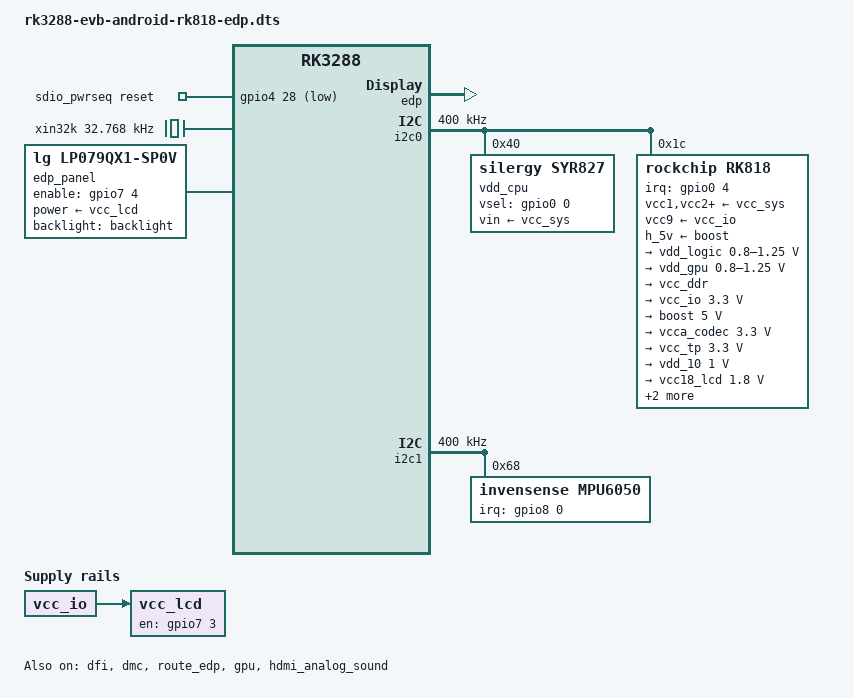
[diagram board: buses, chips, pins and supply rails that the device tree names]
/*
 * Copyright (c) 2017 Fuzhou Rockchip Electronics Co., Ltd
 *
 * This file is dual-licensed: you can use it either under the terms
 * of the GPL or the X11 license, at your option. Note that this dual
 * licensing only applies to this file, and not this project as a
 * whole.
 *
 *  a) This file is free software; you can redistribute it and/or
 *     modify it under the terms of the GNU General Public License as
 *     published by the Free Software Foundation; either version 2 of the
 *     License, or (at your option) any later version.
 *
 *     This file is distributed in the hope that it will be useful,
 *     but WITHOUT ANY WARRANTY; without even the implied warranty of
 *     MERCHANTABILITY or FITNESS FOR A PARTICULAR PURPOSE.  See the
 *     GNU General Public License for more details.
 *
 * Or, alternatively,
 *
 *  b) Permission is hereby granted, free of charge, to any person
 *     obtaining a copy of this software and associated documentation
 *     files (the "Software"), to deal in the Software without
 *     restriction, including without limitation the rights to use,
 *     copy, modify, merge, publish, distribute, sublicense, and/or
 *     sell copies of the Software, and to permit persons to whom the
 *     Software is furnished to do so, subject to the following
 *     conditions:
 *
 *     The above copyright notice and this permission notice shall be
 *     included in all copies or substantial portions of the Software.
 *
 *     THE SOFTWARE IS PROVIDED "AS IS", WITHOUT WARRANTY OF ANY KIND,
 *     EXPRESS OR IMPLIED, INCLUDING BUT NOT LIMITED TO THE WARRANTIES
 *     OF MERCHANTABILITY, FITNESS FOR A PARTICULAR PURPOSE AND
 *     NONINFRINGEMENT. IN NO EVENT SHALL THE AUTHORS OR COPYRIGHT
 *     HOLDERS BE LIABLE FOR ANY CLAIM, DAMAGES OR OTHER LIABILITY,
 *     WHETHER IN AN ACTION OF CONTRACT, TORT OR OTHERWISE, ARISING
 *     FROM, OUT OF OR IN CONNECTION WITH THE SOFTWARE OR THE USE OR
 *     OTHER DEALINGS IN THE SOFTWARE.
 */

/dts-v1/;
#include "rk3288-evb.dtsi"
#include "rk3288-android.dtsi"

/ {
	compatible = "rockchip,rk3288-evb-android-rk818", "rockchip,rk3288";

	sdio_pwrseq: sdio-pwrseq {
		compatible = "mmc-pwrseq-simple";
		clocks = <&rk818 1>;
		clock-names = "ext_clock";

		/*
		 * On the module itself this is one of these (depending
		 * on the actual card populated):
		 * - SDIO_RESET_L_WL_REG_ON
		 * - PDN (power down when low)
		 */
		reset-gpios = <&gpio4 28 GPIO_ACTIVE_LOW>;
	};

	wireless-bluetooth {
		clocks = <&rk818 1>;
		clock-names = "ext_clock";
	};

	/delete-node/ sdmmc-regulator;

	vcc_lcd: vcc-lcd {
		compatible = "regulator-fixed";
		regulator-boot-on;
		enable-active-high;
		gpio = <&gpio7 3 GPIO_ACTIVE_HIGH>;
		pinctrl-names = "default";
		pinctrl-0 = <&lcd_en>;
		regulator-name = "vcc_lcd";
		vin-supply = <&vcc_io>;
	};

	xin32k: xin32k {
		compatible = "fixed-clock";
		clock-frequency = <32768>;
		clock-output-names = "xin32k";
		#clock-cells = <0>;
	};
};

&cpu0 {
	cpu-supply = <&vdd_cpu>;
};

&dfi {
	status = "okay";
};

&dmc {
	center-supply = <&vdd_logic>;
	status = "okay";
};

&edp {
	status = "okay";
};

&edp_panel {
	compatible ="lg,lp079qx1-sp0v", "simple-panel";
	backlight = <&backlight>;
	enable-gpios = <&gpio7 4 GPIO_ACTIVE_HIGH>;
	enable-delay-ms = <120>;
	pinctrl-0 = <&lcd_cs>;
	power-supply = <&vcc_lcd>;
	status = "okay";

	disp_timings: display-timings {
		native-mode = <&timing0>;

		timing0: timing0 {
			clock-frequency = <200000000>;
			hactive = <1536>;
			vactive = <2048>;
			hfront-porch = <12>;
			hsync-len = <16>;
			hback-porch = <48>;
			vfront-porch = <8>;
			vsync-len = <4>;
			vback-porch = <8>;
			hsync-active = <0>;
			vsync-active = <0>;
			de-active = <0>;
			pixelclk-active = <0>;
		};
	};
};

&route_edp {
	status = "okay";
};

&gpu {
	status = "okay";
	mali-supply = <&vdd_gpu>;
};

&hdmi_analog_sound {
	status = "okay";
};

&i2c0 {
	clock-frequency = <400000>;

	vdd_cpu: syr827@40 {
		compatible = "silergy,syr827";
		reg = <0x40>;
		vin-supply = <&vcc_sys>;
		regulator-compatible = "fan53555-reg";
		pinctrl-0 = <&vsel1_gpio>;
		vsel-gpios = <&gpio0 0 GPIO_ACTIVE_HIGH>;
		regulator-name = "vdd_cpu";
		regulator-min-microvolt = <712500>;
		regulator-max-microvolt = <1500000>;
		regulator-ramp-delay = <1000>;
		fcs,suspend-voltage-selector = <1>;
		regulator-always-on;
		regulator-boot-on;
		regulator-initial-state = <3>;
		regulator-state-mem {
			regulator-off-in-suspend;
		};
	};

	rk818: pmic@1c {
		compatible = "rockchip,rk818";
		reg = <0x1c>;
		status = "okay";

		clock-output-names = "rk818-clkout1", "wifibt_32kin";
		interrupt-parent = <&gpio0>;
		interrupts = <4 IRQ_TYPE_LEVEL_LOW>;
		pinctrl-names = "default";
		pinctrl-0 = <&pmic_int>;
		rockchip,system-power-controller;
		wakeup-source;
		#clock-cells = <1>;

		vcc1-supply = <&vcc_sys>;
		vcc2-supply = <&vcc_sys>;
		vcc3-supply = <&vcc_sys>;
		vcc4-supply = <&vcc_sys>;
		vcc6-supply = <&vcc_sys>;
		vcc7-supply = <&vcc_sys>;
		vcc8-supply = <&vcc_sys>;
		vcc9-supply = <&vcc_io>;
		boost-supply = <&vcc_sys>;
		h_5v-supply = <&boost>;

		regulators {
			vdd_logic: DCDC_REG1 {
				regulator-name = "vdd_logic";
				regulator-always-on;
				regulator-boot-on;
				regulator-min-microvolt = <800000>;
				regulator-max-microvolt = <1250000>;
				regulator-ramp-delay = <6001>;
				regulator-state-mem {
					regulator-on-in-suspend;
					regulator-suspend-microvolt = <1000000>;
				};
			};

			vdd_gpu: DCDC_REG2 {
				regulator-name = "vdd_gpu";
				regulator-always-on;
				regulator-boot-on;
				regulator-min-microvolt = <800000>;
				regulator-max-microvolt = <1250000>;
				regulator-ramp-delay = <6001>;
				regulator-state-mem {
					regulator-on-in-suspend;
					regulator-suspend-microvolt = <1000000>;
				};
			};

			vcc_ddr: DCDC_REG3 {
				regulator-always-on;
				regulator-boot-on;
				regulator-name = "vcc_ddr";
				regulator-state-mem {
					regulator-on-in-suspend;
				};
			};

			vcc_io: DCDC_REG4 {
				regulator-always-on;
				regulator-boot-on;
				regulator-min-microvolt = <3300000>;
				regulator-max-microvolt = <3300000>;
				regulator-name = "vcc_io";
				regulator-state-mem {
					regulator-off-in-suspend;
				};
			};

			boost: DCDC_BOOST {
				regulator-always-on;
				regulator-boot-on;
				regulator-min-microvolt = <5000000>;
				regulator-max-microvolt = <5000000>;
				regulator-name = "boost";
				regulator-state-mem {
					regulator-on-in-suspend;
				};
			};

			vcca_codec: LDO_REG1 {
				regulator-always-on;
				regulator-boot-on;
				regulator-min-microvolt = <3300000>;
				regulator-max-microvolt = <3300000>;
				regulator-name = "vcca_codec";
				regulator-state-mem {
					regulator-off-in-suspend;
				};
			};

			vcc_tp: LDO_REG2 {
				regulator-always-on;
				regulator-boot-on;
				regulator-min-microvolt = <3300000>;
				regulator-max-microvolt = <3300000>;
				regulator-name = "vcc_tp";
				regulator-state-mem {
					regulator-off-in-suspend;
				};
			};

			vdd_10: LDO_REG3 {
				regulator-always-on;
				regulator-boot-on;
				regulator-min-microvolt = <1000000>;
				regulator-max-microvolt = <1000000>;
				regulator-name = "vdd_10";
				regulator-state-mem {
					regulator-on-in-suspend;
					regulator-suspend-microvolt = <1000000>;
				};
			};

			vcc18_lcd: LDO_REG4 {
				regulator-always-on;
				regulator-boot-on;
				regulator-min-microvolt = <1800000>;
				regulator-max-microvolt = <1800000>;
				regulator-name = "vcc18_lcd";
				regulator-state-mem {
					regulator-off-in-suspend;
				};
			};

			vccio_pmu: LDO_REG5 {
				regulator-always-on;
				regulator-boot-on;
				regulator-min-microvolt = <3300000>;
				regulator-max-microvolt = <3300000>;
				regulator-name = "vccio_pmu";
				regulator-state-mem {
					regulator-on-in-suspend;
					regulator-suspend-microvolt = <3300000>;
				};
			};

			vdd10_lcd: LDO_REG6 {
				regulator-always-on;
				regulator-boot-on;
				regulator-min-microvolt = <1000000>;
				regulator-max-microvolt = <1000000>;
				regulator-name = "vdd10_lcd";
				regulator-state-mem {
					regulator-off-in-suspend;
				};
			};

			vcc_18: LDO_REG7 {
				regulator-always-on;
				regulator-boot-on;
				regulator-min-microvolt = <1800000>;
				regulator-max-microvolt = <1800000>;
				regulator-name = "vcc_18";
				regulator-state-mem {
					regulator-on-in-suspend;
					regulator-suspend-microvolt = <1800000>;
				};
			};

			vccio_wl: LDO_REG8 {
				regulator-always-on;
				regulator-boot-on;
				regulator-min-microvolt = <1800000>;
				regulator-max-microvolt = <3300000>;
				regulator-name = "vccio_wl";
				regulator-state-mem {
					regulator-on-in-suspend;
					regulator-suspend-microvolt = <3300000>;
				};
			};

			vccio_sd: LDO_REG9 {
				regulator-always-on;
				regulator-boot-on;
				regulator-min-microvolt = <1800000>;
				regulator-max-microvolt = <3300000>;
				regulator-name = "vccio_sd";
				regulator-state-mem {
					regulator-on-in-suspend;
					regulator-suspend-microvolt = <3300000>;
				};
			};

			vcc_sd: SWITCH_REG {
				regulator-always-on;
				regulator-boot-on;
				regulator-name = "vcc_sd";
				regulator-state-mem {
					regulator-on-in-suspend;
				};
			};

			h_5v: HDMI_SWITCH {
				regulator-always-on;
				regulator-boot-on;
				regulator-name = "h_5v";
				regulator-state-mem {
					regulator-on-in-suspend;
				};
			};
		};
	};
};

&i2c1 {
	status = "okay";
	clock-frequency = <400000>;

	mpu6050@68 {
		compatible = "invensense,mpu6050";
		status = "okay";
		pinctrl-names = "default";
		pinctrl-0 = <&mpu6050_irq_gpio>;
		reg = <0x68>;
		irq-gpio = <&gpio8 0 IRQ_TYPE_EDGE_RISING>;
		mpu-int_config = <0x10>;
		mpu-level_shifter = <0>;
		mpu-orientation = <0 1 0 1 0 0 0 0 1>;
		orientation-x= <0>;
		orientation-y= <1>;
		orientation-z= <0>;
		support-hw-poweroff = <1>;
		mpu-debug = <1>;
	};
};

&lvds_panel {
	power-supply = <&vcc_lcd>;
};

&rockchip_suspend {
	status = "okay";
};

&tsadc {
	rockchip,hw-tshut-polarity = <1>; /* tshut polarity 0:LOW 1:HIGH */
};

&pinctrl {
	lcd {
		lcd_en: lcd-en  {
			rockchip,pins = <7 RK_PA3 RK_FUNC_GPIO &pcfg_pull_none>;
		};
	};

	mpu6050 {
		mpu6050_irq_gpio: mpu6050-irq-gpio {
			rockchip,pins = <8 RK_PA0 RK_FUNC_GPIO &pcfg_pull_none>;
		};
	};

	pmic {
		pmic_int: pmic-int {
			rockchip,pins = <0 RK_PA4 RK_FUNC_GPIO &pcfg_pull_up>;
		};
		vsel1_gpio: vsel1-gpio {
			rockchip,pins = <0 RK_PA0 RK_FUNC_GPIO &pcfg_pull_down>;
		};
	};
};
